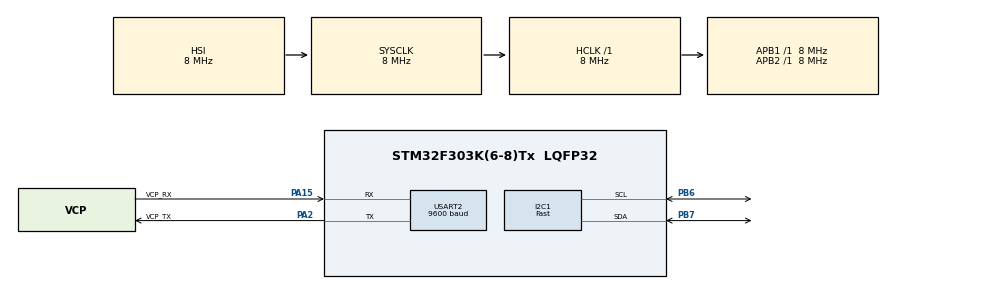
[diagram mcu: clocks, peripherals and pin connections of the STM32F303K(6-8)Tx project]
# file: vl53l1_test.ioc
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I2C1.I2C_Speed_Mode=I2C_Fast
I2C1.Timing=0x0000020B
Mcu.Family=STM32F3
Mcu.Name=STM32F303K(6-8)Tx
Mcu.Package=LQFP32
NVIC.PriorityGroup=NVIC_PRIORITYGROUP_4
PA13.GPIO_Label=SWDIO
PA13.Mode=Serial_Wire
PA13.Signal=SYS_JTMS-SWDIO
PA14.GPIO_Label=SWCLK
PA14.Mode=Serial_Wire
PA14.Signal=SYS_JTCK-SWCLK
PA15.GPIO_Label=VCP_RX
PA15.Mode=Asynchronous
PA15.Signal=USART2_RX
PA2.GPIO_Label=VCP_TX
PA2.Mode=Asynchronous
PA2.Signal=USART2_TX
PB6.Mode=I2C
PB6.Signal=I2C1_SCL
PB7.Mode=I2C
PB7.Signal=I2C1_SDA
PF0\ /\ OSC_IN.GPIO_Label=MCO
PF0\ /\ OSC_IN.Mode=HSE-External-Clock-Source
PF0\ /\ OSC_IN.Signal=RCC_OSC_IN
ProjectManager.HeapSize=0x200
ProjectManager.StackSize=0x400
ProjectManager.TargetToolchain=STM32CubeIDE
RCC.AHBFreq_Value=8000000
RCC.APB1Freq_Value=8000000
RCC.APB2Freq_Value=8000000
RCC.CortexFreq_Value=8000000
RCC.HSE_VALUE=32000000
RCC.HSI_VALUE=8000000
RCC.SYSCLKFreq_VALUE=8000000
USART2.BaudRate=9600
USART2.VirtualMode-Asynchronous=VM_ASYNC
board=NUCLEO-F303K8

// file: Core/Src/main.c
/* USER CODE BEGIN Header */
/**
  ******************************************************************************
  * @file           : main.c
  * @brief          : Main program body
  ******************************************************************************
  * @attention
  *
  * Copyright (c) 2024 STMicroelectronics.
  * All rights reserved.
  *
  * This software is licensed under terms that can be found in the LICENSE file
  * in the root directory of this software component.
  * If no LICENSE file comes with this software, it is provided AS-IS.
  *
  ******************************************************************************
  */
/* USER CODE END Header */
#include "main.h"

/* USER CODE BEGIN Includes */
#include "stdio.h"
#include "vl53l1_def.h"
#include "vl53l1_api.h"
#include "vl53l1_platform.h"

/* USER CODE END Includes */

I2C_HandleTypeDef hi2c1;

UART_HandleTypeDef huart2;

void SystemClock_Config(void);
static void MX_GPIO_Init(void);
static void MX_USART2_UART_Init(void);
static void MX_I2C1_Init(void);

/* USER CODE BEGIN 0 */
int _write(int file, char *ptr, int len)
{
  HAL_UART_Transmit(&huart2,(uint8_t *)ptr,len,10);
  return len;
}
/* USER CODE END 0 */

int main(void)
{

  /* USER CODE BEGIN 1 */
  setbuf(stdout, NULL);
  VL53L1_Dev_t Dev;
  VL53L1_RangingMeasurementData_t data;
  int8_t Status;

  VL53L1_UserRoi_t roiConfig;
  int roi[65] = {0, 15, 0, 0,
  	   	   	   	 1, 15, 1, 0,
				 2, 15, 2, 0,
				 3, 15, 3, 0,
				 4, 15, 4, 0,
				 5, 15, 5, 0,
				 6, 15, 6, 0,
				 7, 15, 7, 0,
				 8, 15, 8, 0,
				 9, 15, 9, 0,
				 10, 15, 10, 0,
				 11, 15, 11, 0,
				 12, 15, 12, 0,
				 13, 15, 13, 0,
				 14, 15, 14, 0,
				 15, 15, 15, 0}; //left to right

  /* USER CODE END 1 */

  /* MCU Configuration--------------------------------------------------------*/

  /* Reset of all peripherals, Initializes the Flash interface and the Systick. */
  HAL_Init();

  /* Configure the system clock */
  SystemClock_Config();

  /* Initialize all configured peripherals */
  MX_GPIO_Init();
  MX_USART2_UART_Init();
  MX_I2C1_Init();
  /* USER CODE BEGIN 2 */
  Dev.I2cDevAddr = 0x52;
  Dev.I2cHandle = &hi2c1;
//  Dev.comms_type = 1;
//  Dev.comms_speed_khz = 400;

  //sensor initialize;
  while(1){
	  Status = VL53L1_WaitDeviceBooted(&Dev);
	  if(Status == 0){
	  	  break;
	    }
  }
  printf("%d\n\r",Status);
  Status = VL53L1_DataInit(&Dev);
  printf("%d\n\r",Status);
  Status = VL53L1_StaticInit(&Dev);
  printf("%d\n\r",Status);
  Status = VL53L1_SetPresetMode(&Dev, VL53L1_PRESETMODE_LITE_RANGING);
  printf("%d\n\r",Status);
  Status = VL53L1_SetDistanceMode(&Dev, VL53L1_DISTANCEMODE_SHORT);
  printf("%d\n\r",Status);
  Status = VL53L1_SetInterMeasurementPeriodMilliSeconds(&Dev, 15);
  printf("%d\n\r",Status);
  VL53L1_SetMeasurementTimingBudgetMicroSeconds(&Dev, 10000);

  //start
  VL53L1_StartMeasurement(&Dev);
  /* USER CODE END 2 */

  /* Infinite loop */
  /* USER CODE BEGIN WHILE */
  while (1)
  {
   int i, pre_tim;
   int range[17];
   float hz;

/*ROI SETTING*/
//   roiConfig.TopLeftX = 0;
//   roiConfig.TopLeftY = 0;
//   roiConfig.BotRightX = 3;
//   roiConfig.BotRightY = 15;
//
//   roiConfig.TopLeftX = 4;
//   roiConfig.TopLeftY = 0;
//   roiConfig.BotRightX = 7;
//   roiConfig.BotRightY = 15;
//
//   roiConfig.TopLeftX = 8;
//   roiConfig.TopLeftY = 0;
//   roiConfig.BotRightX = 11;
//   roiConfig.BotRightY = 15;
//
//   roiConfig.TopLeftX = 12;
//   roiConfig.TopLeftY = 0;
//   roiConfig.BotRightX = 15;
//   roiConfig.BotRightY = 15;

   for(i=0; i <= 16; i++){
	   int j;
	   j = i+(i*3);
	   roiConfig.TopLeftX = roi[j];
	   roiConfig.TopLeftY = roi[j+1];
	   roiConfig.BotRightX = roi[j+2];
	   roiConfig.BotRightY = roi[j+3];
	   Status = VL53L1_SetUserROI(&Dev, &roiConfig);

	   VL53L1_WaitMeasurementDataReady(&Dev);
	   VL53L1_GetRangingMeasurementData(&Dev,&data);
	   range[i] = data.RangeMilliMeter;

	   VL53L1_ClearInterruptAndStartMeasurement(&Dev);
   }
   hz = 1/((float)HAL_GetTick()-(float)pre_tim)*1000;

   printf("%d VL53L1X: ", HAL_GetTick());
   for(i=0; i <= 16; i++){
	   printf("%d, ", range[i]);
   }
   printf("%fHz\n\r", hz);
   pre_tim = HAL_GetTick();

    /* USER CODE END WHILE */
  }
}

void SystemClock_Config(void)
{
  RCC_OscInitTypeDef RCC_OscInitStruct = {0};
  RCC_ClkInitTypeDef RCC_ClkInitStruct = {0};
  RCC_PeriphCLKInitTypeDef PeriphClkInit = {0};

  /** Initializes the RCC Oscillators according to the specified parameters
  * in the RCC_OscInitTypeDef structure.
  */
  RCC_OscInitStruct.OscillatorType = RCC_OSCILLATORTYPE_HSI;
  RCC_OscInitStruct.HSIState = RCC_HSI_ON;
  RCC_OscInitStruct.HSICalibrationValue = RCC_HSICALIBRATION_DEFAULT;
  RCC_OscInitStruct.PLL.PLLState = RCC_PLL_NONE;
  if (HAL_RCC_OscConfig(&RCC_OscInitStruct) != HAL_OK)
  {
    Error_Handler();
  }

  /** Initializes the CPU, AHB and APB buses clocks
  */
  RCC_ClkInitStruct.ClockType = RCC_CLOCKTYPE_HCLK|RCC_CLOCKTYPE_SYSCLK
                              |RCC_CLOCKTYPE_PCLK1|RCC_CLOCKTYPE_PCLK2;
  RCC_ClkInitStruct.SYSCLKSource = RCC_SYSCLKSOURCE_HSI;
  RCC_ClkInitStruct.AHBCLKDivider = RCC_SYSCLK_DIV1;
  RCC_ClkInitStruct.APB1CLKDivider = RCC_HCLK_DIV1;
  RCC_ClkInitStruct.APB2CLKDivider = RCC_HCLK_DIV1;

  if (HAL_RCC_ClockConfig(&RCC_ClkInitStruct, FLASH_LATENCY_0) != HAL_OK)
  {
    Error_Handler();
  }
  PeriphClkInit.PeriphClockSelection = RCC_PERIPHCLK_I2C1;
  PeriphClkInit.I2c1ClockSelection = RCC_I2C1CLKSOURCE_HSI;
  if (HAL_RCCEx_PeriphCLKConfig(&PeriphClkInit) != HAL_OK)
  {
    Error_Handler();
  }
}

static void MX_I2C1_Init(void)
{

  hi2c1.Instance = I2C1;
  hi2c1.Init.Timing = 0x0000020B;
  hi2c1.Init.OwnAddress1 = 0;
  hi2c1.Init.AddressingMode = I2C_ADDRESSINGMODE_7BIT;
  hi2c1.Init.DualAddressMode = I2C_DUALADDRESS_DISABLE;
  hi2c1.Init.OwnAddress2 = 0;
  hi2c1.Init.OwnAddress2Masks = I2C_OA2_NOMASK;
  hi2c1.Init.GeneralCallMode = I2C_GENERALCALL_DISABLE;
  hi2c1.Init.NoStretchMode = I2C_NOSTRETCH_DISABLE;
  if (HAL_I2C_Init(&hi2c1) != HAL_OK)
  {
    Error_Handler();
  }

  /** Configure Analogue filter
  */
  if (HAL_I2CEx_ConfigAnalogFilter(&hi2c1, I2C_ANALOGFILTER_ENABLE) != HAL_OK)
  {
    Error_Handler();
  }

  /** Configure Digital filter
  */
  if (HAL_I2CEx_ConfigDigitalFilter(&hi2c1, 0) != HAL_OK)
  {
    Error_Handler();
  }

}

static void MX_USART2_UART_Init(void)
{

  huart2.Instance = USART2;
  huart2.Init.BaudRate = 115200;
  huart2.Init.WordLength = UART_WORDLENGTH_8B;
  huart2.Init.StopBits = UART_STOPBITS_1;
  huart2.Init.Parity = UART_PARITY_NONE;
  huart2.Init.Mode = UART_MODE_TX_RX;
  huart2.Init.HwFlowCtl = UART_HWCONTROL_NONE;
  huart2.Init.OverSampling = UART_OVERSAMPLING_16;
  huart2.Init.OneBitSampling = UART_ONE_BIT_SAMPLE_DISABLE;
  huart2.AdvancedInit.AdvFeatureInit = UART_ADVFEATURE_NO_INIT;
  if (HAL_UART_Init(&huart2) != HAL_OK)
  {
    Error_Handler();
  }

}

static void MX_GPIO_Init(void)
{

  /* GPIO Ports Clock Enable */
  __HAL_RCC_GPIOF_CLK_ENABLE();
  __HAL_RCC_GPIOA_CLK_ENABLE();
  __HAL_RCC_GPIOB_CLK_ENABLE();

}

void Error_Handler(void)
{
  __disable_irq();
  while (1)
  {
  }
}
